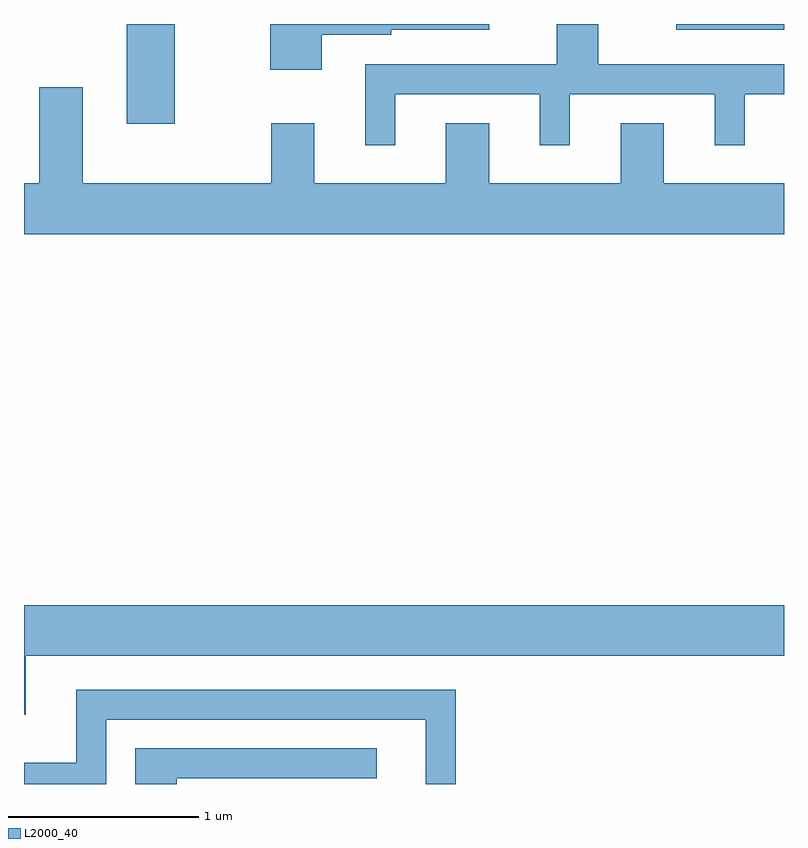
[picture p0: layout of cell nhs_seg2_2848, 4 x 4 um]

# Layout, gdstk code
import gdstk
lib = gdstk.Library(unit=1e-6, precision=1e-09)
def R(c, l, rs):  # rectangles x0, y0, x1, y1
    for r in rs: c.add(gdstk.rectangle(r[:2], r[2:], *l))
def P(c, l, *ps):  # polygons
    for p in ps: c.add(gdstk.Polygon(p, *l))
L2000_40 = (2000, 40)

nhs_seg2_2848 = lib.new_cell('nhs_seg2_2848')
R(nhs_seg2_2848, L2000_40, [(268.151,1113.276,268.404,1113.802), (271.043,1113.771,271.611,1113.802)])
P(nhs_seg2_2848, L2000_40, [(269.564,1113.431),(270.326,1113.431),(270.326,1113.163),(270.484,1113.163),(270.484,1113.431),(271.246,1113.431),(271.246,1113.163),(271.404,1113.163),(271.404,1113.431),(271.611,1113.431),(271.611,1113.589),(270.634,1113.589),(270.634,1113.802),(270.416,1113.802),(270.416,1113.589),(269.406,1113.589),(269.406,1113.163),(269.564,1113.163)],
  [(269.179,1113.746),(269.544,1113.746),(269.544,1113.771),(270.059,1113.771),(270.059,1113.802),(268.906,1113.802),(268.906,1113.561),(269.179,1113.561)],
  [(271.611,1112.964),(270.979,1112.964),(270.979,1113.279),(270.751,1113.279),(270.751,1112.964),(270.059,1112.964),(270.059,1113.279),(269.831,1113.279),(269.831,1112.964),(269.139,1112.964),(269.139,1113.279),(268.911,1113.279),(268.911,1112.964),(267.919,1112.964),(267.919,1113.469),(267.691,1113.469),(267.691,1112.964),(267.611,1112.964),(267.611,1112.696),(271.611,1112.696)],
  [(267.619,1110.476),(271.611,1110.476),(271.611,1110.744),(267.611,1110.744),(267.611,1110.166),(267.619,1110.166)],
  [(268.044,1110.141),(269.726,1110.141),(269.726,1109.802),(269.884,1109.802),(269.884,1110.299),(267.886,1110.299),(267.886,1109.914),(267.611,1109.914),(267.611,1109.802),(268.044,1109.802)],
  [(268.414,1109.831),(269.468,1109.831),(269.468,1109.989),(268.196,1109.989),(268.196,1109.802),(268.414,1109.802)])

lib.write_gds('nhs_seg2_2848.gds')
